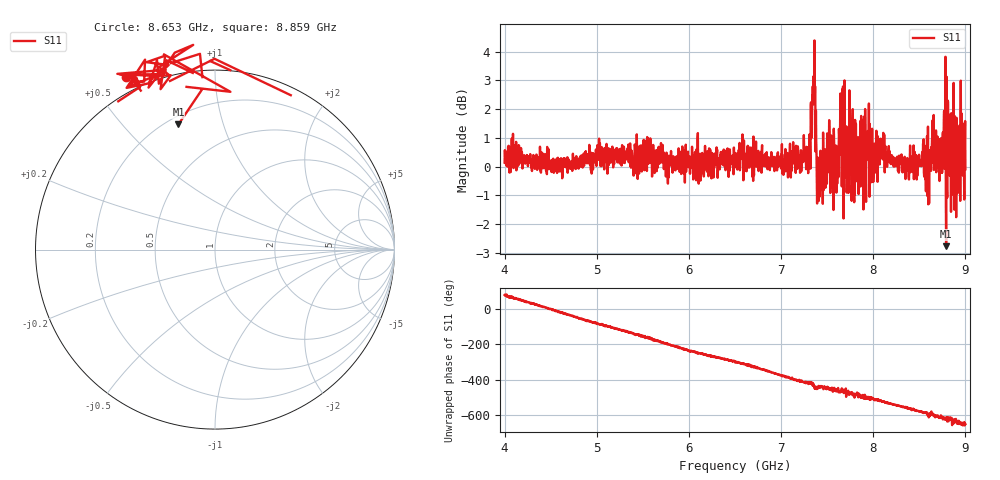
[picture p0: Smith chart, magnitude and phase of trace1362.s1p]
! Created with skrf 1.8.0 (http://scikit-rf.org).
# Hz S RI R 50.0
!freq ReS11 ImS11
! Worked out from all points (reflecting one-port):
!   1601 points, 4 GHz to 9 GHz, reference 50 ohm
!   lowest |S11| = -2.8 dB at 8.791 GHz (marker M1), VSWR 6.32, Z = 12.2 + j36 ohm
!   phase of S11 starts at 77 deg and turns -728 deg over the sweep
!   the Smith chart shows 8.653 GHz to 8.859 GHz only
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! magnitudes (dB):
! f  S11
! 4 GHz  0.1
! 4.1 GHz  0.5
! 4.625 GHz  -0.4
! 5.25 GHz  0.1
! 5.875 GHz  0.0
! 6.5 GHz  0.3
! 7.125 GHz  0.5
! 7.294 GHz  -0.2
! 7.347 GHz  2.4
! 7.362 GHz  4.4
! 7.397 GHz  -1.0
! 7.412 GHz  -0.3
! 7.525 GHz  1.2
! 7.609 GHz  -0.6
! 7.65 GHz  1.8
! 7.669 GHz  1.1
! 7.703 GHz  0.2
! 7.75 GHz  -0.3
! 7.95 GHz  0.4
! 8.375 GHz  -0.1
! 8.522 GHz  0.0
! 8.584 GHz  1.1
! 8.656 GHz  1.8
! 8.725 GHz  0.9
! 8.791 GHz  -2.8
! 8.919 GHz  -0.2
! 8.972 GHz  0.7
! 9 GHz  -0.1
